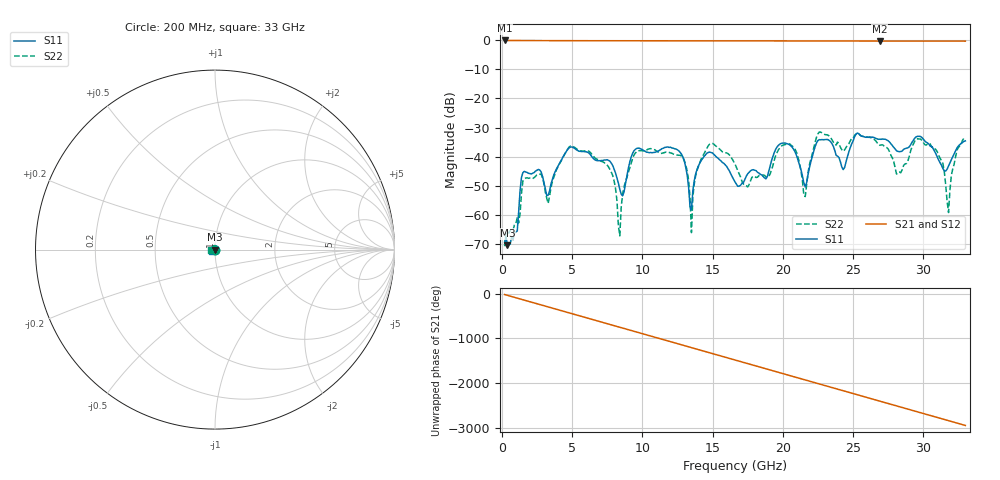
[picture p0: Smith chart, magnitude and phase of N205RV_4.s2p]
# GHZ S RI R 50
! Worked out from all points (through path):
!   329 points, 200 MHz to 33 GHz, reference 50 ohm
!   highest |S21| = -0.02 dB at 200 MHz (marker M1); lowest = -0.3 dB at 26.9 GHz (marker M2)
!   group delay of S21, straight-line fit = 248 ps
!   lowest |S11| = -70.6 dB at 400 MHz (marker M3), VSWR 1.00, Z = 50 - j0.000919 ohm
!   |S11| at or under -10 dB: start of sweep to end of sweep
!   |S22| runs from -70.9 to -31.5 dB; largest |S21 - S12| = 0.0019
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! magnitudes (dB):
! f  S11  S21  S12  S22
! 200 MHz  -69.4  0.0  0.0  -70.9
! 400 MHz  -70.6  0.0  0.0  -65.8
! 1.5 GHz  -45.5  -0.1  -0.1  -48.4
! 3.3 GHz  -53.3  -0.1  -0.1  -56.1
! 5.7 GHz  -38.3  -0.1  -0.1  -38.1
! 7.8 GHz  -42.3  -0.1  -0.1  -45.4
! 8.4 GHz  -51.3  -0.1  -0.1  -67.3
! 9.4 GHz  -38.0  -0.1  -0.1  -39.6
! 11.2 GHz  -37.9  -0.1  -0.1  -38.7
! 13 GHz  -41.7  -0.1  -0.1  -41.5
! 13.5 GHz  -58.3  -0.1  -0.2  -66.2
! 13.8 GHz  -46.0  -0.2  -0.2  -46.5
! 14.7 GHz  -38.6  -0.2  -0.2  -36.2
! 16.6 GHz  -48.7  -0.2  -0.2  -42.5
! 20.5 GHz  -36.0  -0.2  -0.2  -35.7
! 21.6 GHz  -50.5  -0.2  -0.2  -53.8
! 22.1 GHz  -40.0  -0.2  -0.2  -39.1
! 26.9 GHz  -34.0  -0.3  -0.3  -36.1
! 27.6 GHz  -35.0  -0.3  -0.3  -38.3
! 30.7 GHz  -37.2  -0.2  -0.2  -36.6
! 31.8 GHz  -43.3  -0.2  -0.2  -59.3
! 33 GHz  -34.6  -0.2  -0.2  -33.3
